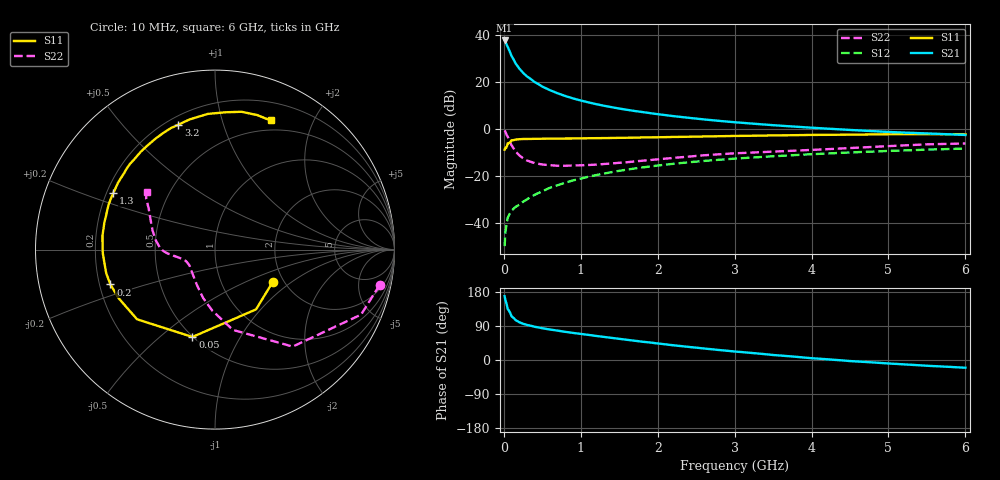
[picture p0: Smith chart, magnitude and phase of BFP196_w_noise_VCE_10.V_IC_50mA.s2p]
! Infineon Technologies  Discrete & RF Semiconductors
! BFP196
! VCE =  10. V,  IC =  50 mA
! Common Emitter S-Parameters:  Jan 2017
# GHz  S  MA  R  50
!  f  S11  S21  S12  S22
! GHz  MAG  ANG  MAG  ANG  MAG  ANG  MAG  ANG
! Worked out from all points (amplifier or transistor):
!   77 points, 10 MHz to 6 GHz, reference 50 ohm
!   highest |S21| = 37.7 dB at 10 MHz (marker M1)
!   |S21| within 3 dB of that: start of sweep to 53.92 MHz
!   unconditionally stable (mu >= 1): 618.7 MHz to 2.455 GHz
!   at 130 MHz: K = 0.57, MSG = 31.5 dB, |S12| = -33.6 dB
!   at 2.2 GHz: K = 1.01, MAG = 9.5 dB, |S12| = -14.7 dB
!   at 6 GHz: K = 0.94, MSG = 2.9 dB, |S12| = -8.2 dB
!   lowest NFmin = 1.45 dB at 450 MHz
!   S11 on the Smith chart (normalised r, x): 10 MHz: 1.75, -0.73; 50 MHz: 0.50, -0.65; 200 MHz: 0.24, -0.15; 1.3 GHz: 0.23, +0.25; 3.2 GHz: 0.24, +0.72; 6 GHz: 0.39, +1.45
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0.01  0.3686 -29.4  76.39 168.3  0.0033 79.8  0.9386 -12.1
0.02  0.4041 -55.5  73.14 158.3  0.0064 75.6  0.8909 -24.0
0.05  0.5027 -104.5  55.84 134.9  0.0131 55.8  0.6924 -51.3
0.1  0.5825 -138.2  35.82 115.2  0.0186 52.3  0.4587 -77.4
0.15  0.6016 -153.3  25.35 105.7  0.0223 51.6  0.3413 -92.4
0.2  0.6143 -161.6  19.48 99.8  0.025 55.2  0.2795 -103.4
0.25  0.6202 -167.7  15.75 95.6  0.0289 57.2  0.2412 -111.4
0.3  0.6201 -172.0  13.2 92.6  0.0324 59.7  0.2168 -118.5
0.4  0.6255 -178.1  10.02 87.7  0.0404 62.5  0.1911 -128.6
0.5  0.6276 176.9  8.033 83.8  0.0482 64.2  0.1785 -136.4
0.6  0.6318 172.8  6.73 80.4  0.0573 65.0  0.1722 -142.7
0.7  0.632 169.5  5.773 77.5  0.0649 65.6  0.1678 -147.0
0.9  0.6357 162.7  4.498 71.5  0.082 64.8  0.1698 -153.3
1.1  0.6438 156.8  3.708 66.3  0.0983 63.6  0.1741 -158.3
1.3  0.6481 151.0  3.15 61.0  0.1142 61.8  0.1825 -161.8
1.6  0.6587 142.7  2.583 53.3  0.1387 58.6  0.199 -166.1
2.1  0.6789 129.5  1.991 41.4  0.1768 52.4  0.2376 -172.3
3.1  0.7224 108.2  1.366 20.8  0.2431 39.3  0.313 176.3
3.2  0.7255 106.3  1.326 19.0  0.2489 38.1  0.3182 174.9
4.1  0.758 91.6  1.053 3.4  0.2999 27.4  0.3702 161.1
5.1  0.782 77.8  0.861 -10.3  0.3502 15.8  0.4455 146.9
6  0.7834 66.7  0.755 -20.4  0.3891 5.8  0.4987 139.6
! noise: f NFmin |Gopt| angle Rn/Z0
0.45  1.45  0.4  -176  0.06
0.9  1.6  0.47  -164  0.08
1.9  2.42  0.68  -132  0.32
2.4  2.82  0.7  -119  0.66
